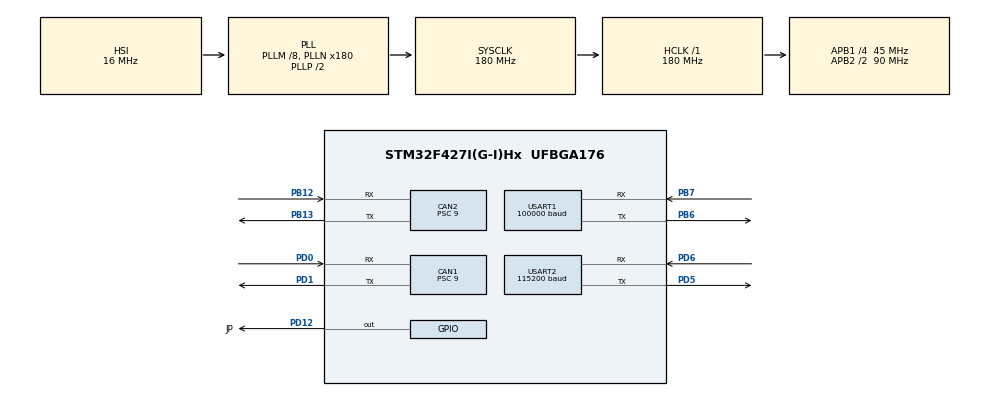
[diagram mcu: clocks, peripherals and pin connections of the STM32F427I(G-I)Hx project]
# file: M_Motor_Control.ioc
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CAN1.ABOM=ENABLE
CAN1.BS1=CAN_BS1_2TQ
CAN1.BS2=CAN_BS2_2TQ
CAN1.CalculateBaudRate=1000000
CAN1.CalculateTimeBit=1000
CAN1.CalculateTimeQuantum=200.0
CAN1.Prescaler=9
CAN2.ABOM=ENABLE
CAN2.BS1=CAN_BS1_2TQ
CAN2.BS2=CAN_BS2_2TQ
CAN2.CalculateBaudRate=1000000
CAN2.CalculateTimeBit=1000
CAN2.CalculateTimeQuantum=200.0
CAN2.Prescaler=9
Dma.Request0=USART2_TX
Dma.Request1=USART2_RX
Dma.Request2=USART1_RX
Dma.Request3=USART1_TX
Dma.USART1_RX.2.Direction=DMA_PERIPH_TO_MEMORY
Dma.USART1_RX.2.FIFOMode=DMA_FIFOMODE_DISABLE
Dma.USART1_RX.2.Instance=DMA2_Stream2
Dma.USART1_RX.2.MemDataAlignment=DMA_MDATAALIGN_BYTE
Dma.USART1_RX.2.MemInc=DMA_MINC_ENABLE
Dma.USART1_RX.2.Mode=DMA_NORMAL
Dma.USART1_RX.2.PeriphDataAlignment=DMA_PDATAALIGN_BYTE
Dma.USART1_RX.2.PeriphInc=DMA_PINC_DISABLE
Dma.USART1_RX.2.Priority=DMA_PRIORITY_LOW
Dma.USART1_TX.3.Direction=DMA_MEMORY_TO_PERIPH
Dma.USART1_TX.3.FIFOMode=DMA_FIFOMODE_DISABLE
Dma.USART1_TX.3.Instance=DMA2_Stream7
Dma.USART1_TX.3.MemDataAlignment=DMA_MDATAALIGN_BYTE
Dma.USART1_TX.3.MemInc=DMA_MINC_ENABLE
Dma.USART1_TX.3.Mode=DMA_NORMAL
Dma.USART1_TX.3.PeriphDataAlignment=DMA_PDATAALIGN_BYTE
Dma.USART1_TX.3.PeriphInc=DMA_PINC_DISABLE
Dma.USART1_TX.3.Priority=DMA_PRIORITY_LOW
Dma.USART2_RX.1.Direction=DMA_PERIPH_TO_MEMORY
Dma.USART2_RX.1.FIFOMode=DMA_FIFOMODE_DISABLE
Dma.USART2_RX.1.Instance=DMA1_Stream5
Dma.USART2_RX.1.MemDataAlignment=DMA_MDATAALIGN_BYTE
Dma.USART2_RX.1.MemInc=DMA_MINC_ENABLE
Dma.USART2_RX.1.Mode=DMA_NORMAL
Dma.USART2_RX.1.PeriphDataAlignment=DMA_PDATAALIGN_BYTE
Dma.USART2_RX.1.PeriphInc=DMA_PINC_DISABLE
Dma.USART2_RX.1.Priority=DMA_PRIORITY_LOW
Dma.USART2_TX.0.Direction=DMA_MEMORY_TO_PERIPH
Dma.USART2_TX.0.FIFOMode=DMA_FIFOMODE_DISABLE
Dma.USART2_TX.0.Instance=DMA1_Stream6
Dma.USART2_TX.0.MemDataAlignment=DMA_MDATAALIGN_BYTE
Dma.USART2_TX.0.MemInc=DMA_MINC_ENABLE
Dma.USART2_TX.0.Mode=DMA_NORMAL
Dma.USART2_TX.0.PeriphDataAlignment=DMA_PDATAALIGN_BYTE
Dma.USART2_TX.0.PeriphInc=DMA_PINC_DISABLE
Dma.USART2_TX.0.Priority=DMA_PRIORITY_LOW
Mcu.Family=STM32F4
Mcu.Name=STM32F427I(G-I)Hx
Mcu.Package=UFBGA176
NVIC.CAN1_RX0_IRQn=true\:0\:0\:false\:false\:true\:true\:true\:true
NVIC.CAN1_RX1_IRQn=true\:0\:0\:false\:false\:true\:true\:true\:true
NVIC.CAN2_RX0_IRQn=true\:0\:0\:false\:false\:true\:true\:true\:true
NVIC.CAN2_RX1_IRQn=true\:0\:0\:false\:false\:true\:true\:true\:true
NVIC.DMA1_Stream5_IRQn=true\:0\:0\:false\:false\:true\:false\:true\:true
NVIC.DMA1_Stream6_IRQn=true\:0\:0\:false\:false\:true\:false\:true\:true
NVIC.DMA2_Stream2_IRQn=true\:0\:0\:false\:false\:true\:false\:true\:true
NVIC.DMA2_Stream7_IRQn=true\:0\:0\:false\:false\:true\:false\:true\:true
NVIC.PriorityGroup=NVIC_PRIORITYGROUP_4
NVIC.TIM1_UP_TIM10_IRQn=true\:0\:0\:true\:false\:true\:true\:true\:true
NVIC.USART1_IRQn=true\:0\:0\:false\:false\:true\:true\:true\:true
NVIC.USART2_IRQn=true\:0\:0\:false\:false\:true\:false\:true\:true
PA13.Mode=Serial_Wire
PA13.Signal=SYS_JTMS-SWDIO
PA14.Mode=Serial_Wire
PA14.Signal=SYS_JTCK-SWCLK
PB12.Mode=CAN_Activate
PB12.Signal=CAN2_RX
PB13.Mode=CAN_Activate
PB13.Signal=CAN2_TX
PB6.Mode=Asynchronous
PB6.Signal=USART1_TX
PB7.Mode=Asynchronous
PB7.Signal=USART1_RX
PD0.Mode=CAN_Activate
PD0.Signal=CAN1_RX
PD1.Mode=CAN_Activate
PD1.Signal=CAN1_TX
PD12.GPIO_Label=JP
PD12.GPIO_PuPd=GPIO_NOPULL
PD12.Signal=GPIO_Output
PD5.Mode=Asynchronous
PD5.Signal=USART2_TX
PD6.Mode=Asynchronous
PD6.Signal=USART2_RX
PH0/OSC_IN.Mode=HSE-External-Oscillator
PH0/OSC_IN.Signal=RCC_OSC_IN
PH1/OSC_OUT.Mode=HSE-External-Oscillator
PH1/OSC_OUT.Signal=RCC_OSC_OUT
ProjectManager.HeapSize=0x200
ProjectManager.StackSize=0x400
ProjectManager.TargetToolchain=MDK-ARM V5.32
RCC.48MHZClocksFreq_Value=90000000
RCC.AHBFreq_Value=180000000
RCC.APB1CLKDivider=RCC_HCLK_DIV4
RCC.APB1Freq_Value=45000000
RCC.APB1TimFreq_Value=90000000
RCC.APB2CLKDivider=RCC_HCLK_DIV2
RCC.APB2Freq_Value=90000000
RCC.APB2TimFreq_Value=180000000
RCC.CortexFreq_Value=180000000
RCC.HCLKFreq_Value=180000000
RCC.HSE_VALUE=12000000
RCC.HSI_VALUE=16000000
RCC.LSE_VALUE=32768
RCC.PLLM=8
RCC.PLLN=180
RCC.SYSCLKFreq_VALUE=180000000
RCC.SYSCLKSource=RCC_SYSCLKSOURCE_PLLCLK
RCC.VCOOutputFreq_Value=360000000
TIM1.Period=1000-1
TIM1.Prescaler=180-1
USART1.BaudRate=100000
USART1.Parity=PARITY_EVEN
USART1.StopBits=STOPBITS_2
USART1.VirtualMode=VM_ASYNC
USART1.WordLength=WORDLENGTH_9B
USART2.BaudRate=115200
USART2.Parity=PARITY_NONE
USART2.StopBits=STOPBITS_1
USART2.VirtualMode=VM_ASYNC
USART2.WordLength=WORDLENGTH_8B
VP_TIM1_VS_ClockSourceINT.Mode=Internal
board=custom

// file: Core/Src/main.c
/* USER CODE BEGIN Header */
/**
  ******************************************************************************
  * @file           : main.c
  * @brief          : Main program body
  ******************************************************************************
  * @attention
  *
  * Copyright (c) 2026 STMicroelectronics.
  * All rights reserved.
  *
  * This software is licensed under terms that can be found in the LICENSE file
  * in the root directory of this software component.
  * If no LICENSE file comes with this software, it is provided AS-IS.
  *
  ******************************************************************************
  */
/* USER CODE END Header */
#include "main.h"
#include "can.h"
#include "dma.h"
#include "tim.h"
#include "usart.h"
#include "gpio.h"

/* USER CODE BEGIN Includes */

#include "usart.h"
#include "tim.h"
#include "drv_DM_Control.h"
#include "drv_can.h"
#include "drv_DJ_Control.h"
#include <stdio.h>
#include <string.h>
#include <math.h>
#include "alg_pid.h"
#include "Chassis.h"
#include "Serial_AutoPID.h"
#include "sbus.h"
#include <stdio.h>

/* USER CODE END Includes */

/* USER CODE BEGIN PM */

Chassis_t p_Chassis1;
More_Motor_t p_More_Motor1;
DJ_Motor_t p_DJMotor;

/* USER CODE END PM */

/* USER CODE BEGIN PV */

void DM_RX_Callback(Struct_CAN_Rx_Buffer *pRxBuffer)
{
   switch(pRxBuffer->Header.StdId)
   {/*
       case 0x11:
       {
          DM_RX_Switch(&p_Chassis1.DM_Motor[0], pRxBuffer);
          break;
       }
       case 0x12:
       {
          DM_RX_Switch(&p_Chassis1.DM_Motor[1], pRxBuffer);
          break;
       }
       case 0x13:
       {
          DM_RX_Switch(&p_Chassis1.DM_Motor[2], pRxBuffer);
          break;
       }
       case 0x14:
       {
          DM_RX_Switch(&p_Chassis1.DM_Motor[3], pRxBuffer);
          break;
       }
       */
       case 0x201:
       {
          DJ_Rx_Switch(&p_DJMotor, pRxBuffer);
          break;
       }
       case 0x202:
       {
         DJ_Rx_Switch(&p_Chassis1.DJMotor[1], pRxBuffer);
          break;
       }
       case 0x203:
       {
          DJ_Rx_Switch(&p_Chassis1.DJMotor[2], pRxBuffer);
          break;
       }
       case 0x204:
       {
          DJ_Rx_Switch(&p_Chassis1.DJMotor[3], pRxBuffer);
          break;
       }
       case 0x205:
       {
          break;
       }
       case 0x206:
       {
          break;
       }
       case 0x207:
       {
          break;
       }
       case 0x208:
       {
          break;
       }
       default:
       {
          break;
       }
   }
}

void JP_Control(uint8_t State)
{
  if(State == 0)
  {
    HAL_GPIO_WritePin(JP_GPIO_Port, JP_Pin, GPIO_PIN_RESET);
  }
  else
  {
    HAL_GPIO_WritePin(JP_GPIO_Port, JP_Pin, GPIO_PIN_SET);
  }
}

/* USER CODE END PV */

void SystemClock_Config(void);

int main(void)
{

  /* MCU Configuration--------------------------------------------------------*/

  /* Reset of all peripherals, Initializes the Flash interface and the Systick. */
  HAL_Init();

  /* Configure the system clock */
  SystemClock_Config();

  /* Initialize all configured peripherals */
  MX_GPIO_Init();
  MX_DMA_Init();
  MX_CAN1_Init();
  MX_USART2_UART_Init();
  MX_TIM1_Init();
  MX_CAN2_Init();
  MX_USART1_UART_Init();
  /* USER CODE BEGIN 2 */

  CAN_Init(&hcan1, DM_RX_Callback);
  CAN_Init(&hcan2, DM_RX_Callback);
  CAN_Filter_Mask_Config(&hcan1, CAN_FIFO_0 | CAN_STDID | CAN_DATA_TYPE, 0x00, 0x00);
  CAN_Filter_Mask_Config(&hcan2, CAN_FIFO_0 | CAN_STDID | CAN_DATA_TYPE, 0x00, 0x00);
  HAL_TIM_Base_Start_IT(&htim1);

  SBUS_Init(&sbus_data, &huart1);

  uint16_t IDs1[4] = {0x1, 0x2, 0x3, 0x4};
  uint16_t IDs2[MORE_MOTOR_NUM] = {0x5, 0x6, 0x7, 0x8, 0x9};
  float Target[MORE_MOTOR_NUM] = {0.0f, 0.0f, 0.0f, 0.0f,  0.0f};

  Chassis_Init(&p_Chassis1, Chassis_Motor_DM, Chassis_Mode_Mecanum, &hcan1, IDs1);
  More_Motor_Init(&p_More_Motor1, Chassis_Motor_DM, &hcan2, IDs2);

  //Chassis_Set_Target(&p_Chassis1, 0.0f, 0.0f, 0.0f);

/*
  Serial_AutoPID_Init(&g_AutoPID, &huart2, 0xAA);
  DJ_Motor_Init(&p_DJMotor, &hcan1, 0x01, DJ_MOTOR_MODE_SPEED, MOTOR_REDUCTION_RATIO, DJ_Send_Data_0x200);
  DJ_Set_Target(&p_DJMotor, 0.0f);
*/

  /* USER CODE END 2 */

  /* Infinite loop */
  /* USER CODE BEGIN WHILE */
  while (1)
  {

	  if(sbus_data.ch[5] < 100 && sbus_data.ch[5] >-100)
	  {
		  Target[0] = 0.0;
		  Target[1] = 0.0;
	  }
	  else if(sbus_data.ch[5] < -100 && sbus_data.ch[5] > -1000)
	  {
		  Target[0] = -6.0;
		  Target[1] = 6.0;
	  }

    if(sbus_data.ch[6] <  100 && sbus_data.ch[6] > -100)
    {
      Target[2] = 0.0;
      Target[3] = 0.0;
    }
    else if(sbus_data.ch[6] < -100 && sbus_data.ch[6] > -1000)
    {
      Target[2] = -150.0;
      Target[3] = 150.0;
    }

    if(sbus_data.ch[4] < 100)
    {
      JP_Control(0);
    }
    else if(sbus_data.ch[4] > 100)
    {
      JP_Control(1);
    }

    if(sbus_data.ch[7] < 100 )
    {
      Target[4] = 0.0;
    }
    else if(sbus_data.ch[7] > 100)
    {
      Target[4] = 60.0;
    }

    More_Motor_Set_Target(&p_More_Motor1, Target);
    Chassis_Set_Target(&p_Chassis1, map_sym_dead(sbus_data.ch[3], 50, 50.0f), map_sym_dead(sbus_data.ch[2], 50, 50.0f), map_sym_dead(sbus_data.ch[0], 50, 50.0f));
    More_Motor_Control(&p_More_Motor1);
    Chassis_Control(&p_Chassis1);
    HAL_Delay(1);

    //printf("ch0: %d, ch1: %d, ch2: %d, ch3: %d, ch4: %d, ch5: %d, ch6: %d, ch17: %d, ch18: %d\n", sbus_data.ch[0], sbus_data.ch[1], sbus_data.ch[2], sbus_data.ch[3], sbus_data.ch[4], sbus_data.ch[5], sbus_data.ch[6], sbus_data.ch17, sbus_data.ch18);
    //HAL_UART_Transmit(&huart2, sbus_raw_buf, SBUS_LEN, HAL_MAX_DELAY);
/*
    if(g_AutoPID.pid_ready)
    {
      p_DJMotor.speed_pid.Kp = g_AutoPID.Kp;
      p_DJMotor.speed_pid.Ki = g_AutoPID.Ki;
      p_DJMotor.speed_pid.Kd = g_AutoPID.Kd;
      g_AutoPID.pid_ready = 0;
    }
    if(g_AutoPID.target_ready)
    {
      p_DJMotor.speed_pid.target = g_AutoPID.target;
      g_AutoPID.target_ready = 0;
    }
    DJ_Motor_Control(&p_DJMotor);
    Serial_AutoPID_Send(&g_AutoPID, &p_DJMotor);
    HAL_Delay(1);
*/
    /* USER CODE END WHILE */

  }
}

void SystemClock_Config(void)
{
  RCC_OscInitTypeDef RCC_OscInitStruct = {0};
  RCC_ClkInitTypeDef RCC_ClkInitStruct = {0};

  /** Configure the main internal regulator output voltage
  */
  __HAL_RCC_PWR_CLK_ENABLE();
  __HAL_PWR_VOLTAGESCALING_CONFIG(PWR_REGULATOR_VOLTAGE_SCALE1);

  /** Initializes the RCC Oscillators according to the specified parameters
  * in the RCC_OscInitTypeDef structure.
  */
  RCC_OscInitStruct.OscillatorType = RCC_OSCILLATORTYPE_HSI;
  RCC_OscInitStruct.HSIState = RCC_HSI_ON;
  RCC_OscInitStruct.HSICalibrationValue = RCC_HSICALIBRATION_DEFAULT;
  RCC_OscInitStruct.PLL.PLLState = RCC_PLL_ON;
  RCC_OscInitStruct.PLL.PLLSource = RCC_PLLSOURCE_HSI;
  RCC_OscInitStruct.PLL.PLLM = 8;
  RCC_OscInitStruct.PLL.PLLN = 180;
  RCC_OscInitStruct.PLL.PLLP = RCC_PLLP_DIV2;
  RCC_OscInitStruct.PLL.PLLQ = 4;
  if (HAL_RCC_OscConfig(&RCC_OscInitStruct) != HAL_OK)
  {
    Error_Handler();
  }

  /** Activate the Over-Drive mode
  */
  if (HAL_PWREx_EnableOverDrive() != HAL_OK)
  {
    Error_Handler();
  }

  /** Initializes the CPU, AHB and APB buses clocks
  */
  RCC_ClkInitStruct.ClockType = RCC_CLOCKTYPE_HCLK|RCC_CLOCKTYPE_SYSCLK
                              |RCC_CLOCKTYPE_PCLK1|RCC_CLOCKTYPE_PCLK2;
  RCC_ClkInitStruct.SYSCLKSource = RCC_SYSCLKSOURCE_PLLCLK;
  RCC_ClkInitStruct.AHBCLKDivider = RCC_SYSCLK_DIV1;
  RCC_ClkInitStruct.APB1CLKDivider = RCC_HCLK_DIV4;
  RCC_ClkInitStruct.APB2CLKDivider = RCC_HCLK_DIV2;

  if (HAL_RCC_ClockConfig(&RCC_ClkInitStruct, FLASH_LATENCY_5) != HAL_OK)
  {
    Error_Handler();
  }
}

/* USER CODE BEGIN 4 */

/**
 * @brief 定时器周期溢出回调(HAL 弱函数重写)
 * @note TIM1 配置为 1kHz(1ms), 作为电机控制唯一 tick 来源:
 *         1. 生成正弦速度目标 + 加速度前馈(相位累加器, 与控制环同周期)
 *         2. 速度环 PI 运算 -> 更新电流给定
 *         3. 发送 C620 电流帧(持续发送, 喂电调看门狗)
 *       回调内禁止调用 HAL_Delay / 阻塞式串口发送。
 */
void HAL_TIM_PeriodElapsedCallback(TIM_HandleTypeDef *htim)
{
    if(htim->Instance == TIM1)
    {
      //Chassis_Control(&p_Chassis);
    }
}

/**
 * @brief printf重定向到UART2 (Keil MDK-ARM)
 */
int fputc(int ch, FILE *f)
{
    HAL_UART_Transmit(&huart2, (uint8_t *)&ch, 1, HAL_MAX_DELAY);
    return ch;
}

/* USER CODE END 4 */

void Error_Handler(void)
{
  __disable_irq();
  while (1)
  {
  }
}
